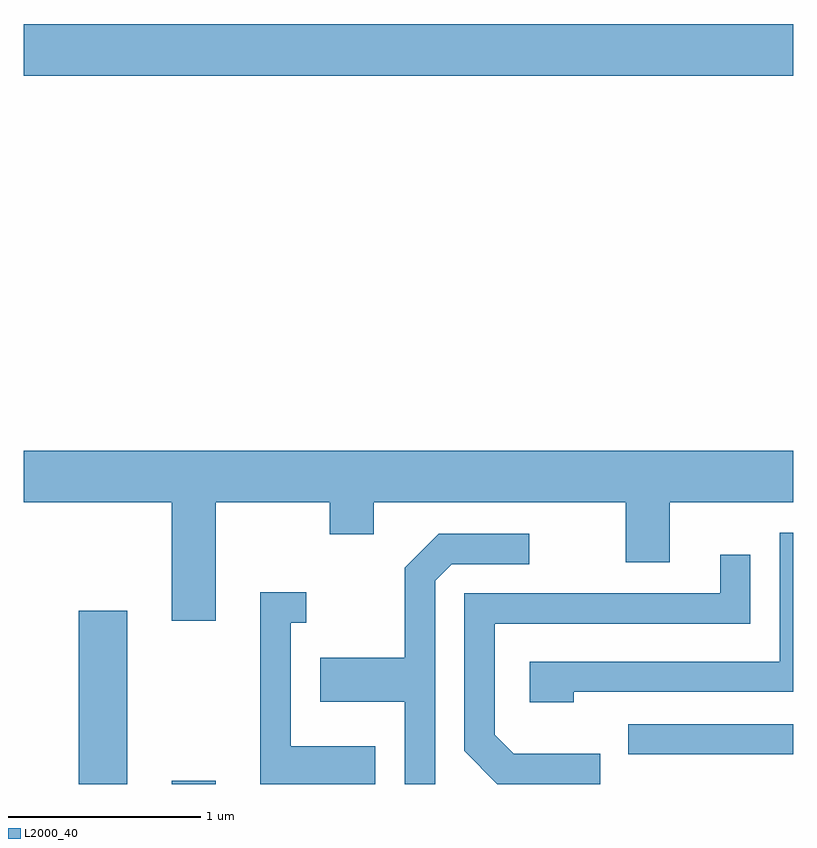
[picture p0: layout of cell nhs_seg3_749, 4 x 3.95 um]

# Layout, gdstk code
import gdstk
lib = gdstk.Library(unit=1e-6, precision=1e-09)
def R(c, l, rs):  # rectangles x0, y0, x1, y1
    for r in rs: c.add(gdstk.rectangle(r[:2], r[2:], *l))
def P(c, l, *ps):  # polygons
    for p in ps: c.add(gdstk.Polygon(p, *l))
L2000_40 = (2000, 40)

nhs_seg3_749 = lib.new_cell('nhs_seg3_749')
R(nhs_seg3_749, L2000_40, [(207.896,1117.892,208.149,1118.794), (208.381,1117.892,208.609,1117.909), (210.753,1118.046,211.611,1118.204), (207.611,1121.576,211.611,1121.844)])
P(nhs_seg3_749, L2000_40, [(208.609,1119.356),(209.201,1119.356),(209.201,1119.191),(209.429,1119.191),(209.429,1119.356),(210.741,1119.356),(210.741,1119.046),(210.969,1119.046),(210.969,1119.356),(211.611,1119.356),(211.611,1119.624),(207.611,1119.624),(207.611,1119.356),(208.381,1119.356),(208.381,1118.741),(208.609,1118.741)],
  [(210.469,1118.371),(211.611,1118.371),(211.611,1119.199),(211.541,1119.199),(211.541,1118.529),(210.241,1118.529),(210.241,1118.316),(210.469,1118.316)],
  [(209.749,1118.949),(209.837,1119.036),(210.238,1119.036),(210.238,1119.194),(209.769,1119.194),(209.591,1119.017),(209.591,1118.549),(209.151,1118.549),(209.151,1118.321),(209.591,1118.321),(209.591,1117.892),(209.749,1117.892)],
  [(210.609,1118.049),(210.157,1118.049),(210.059,1118.147),(210.059,1118.726),(211.389,1118.726),(211.389,1119.083),(211.231,1119.083),(211.231,1118.884),(209.901,1118.884),(209.901,1118.064),(210.073,1117.892),(210.609,1117.892)],
  [(209.439,1118.089),(208.999,1118.089),(208.999,1118.731),(209.078,1118.731),(209.078,1118.889),(208.841,1118.889),(208.841,1117.892),(209.439,1117.892)])

lib.write_gds('nhs_seg3_749.gds')
